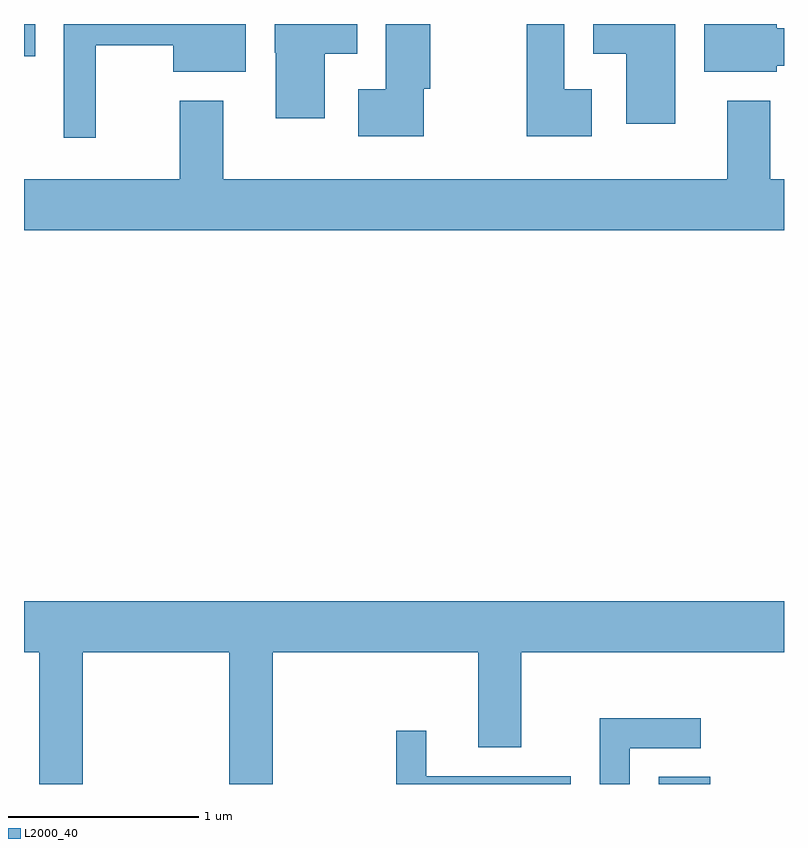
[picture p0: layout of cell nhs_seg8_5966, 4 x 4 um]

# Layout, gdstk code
import gdstk
lib = gdstk.Library(unit=1e-6, precision=1e-09)
def R(c, l, rs):  # rectangles x0, y0, x1, y1
    for r in rs: c.add(gdstk.rectangle(r[:2], r[2:], *l))
def P(c, l, *ps):  # polygons
    for p in ps: c.add(gdstk.Polygon(p, *l))
L2000_40 = (2000, 40)

nhs_seg8_5966 = lib.new_cell('nhs_seg8_5966')
R(nhs_seg8_5966, L2000_40, [(366.951,1882.342,367.224,1882.379), (363.611,1886.171,363.669,1886.342)])
P(nhs_seg8_5966, L2000_40, [(365.194,1886.186),(365.364,1886.186),(365.364,1886.342),(364.931,1886.342),(364.931,1886.19),(364.936,1886.19),(364.936,1885.846),(365.194,1885.846)],
  [(367.574,1886.121),(367.611,1886.121),(367.611,1886.319),(367.574,1886.319),(367.574,1886.342),(367.191,1886.342),(367.191,1886.091),(367.574,1886.091)],
  [(366.599,1885.999),(366.454,1885.999),(366.454,1886.342),(366.256,1886.342),(366.256,1885.751),(366.599,1885.751)],
  [(365.714,1886.001),(365.749,1886.001),(365.749,1886.342),(365.516,1886.342),(365.516,1885.999),(365.371,1885.999),(365.371,1885.751),(365.714,1885.751)],
  [(367.039,1886.342),(366.606,1886.342),(366.606,1886.186),(366.781,1886.186),(366.781,1885.816),(367.039,1885.816)],
  [(363.989,1886.231),(364.396,1886.231),(364.396,1886.091),(364.779,1886.091),(364.779,1886.342),(363.821,1886.342),(363.821,1885.743),(363.989,1885.743)],
  [(367.611,1885.524),(367.539,1885.524),(367.539,1885.939),(367.311,1885.939),(367.311,1885.524),(364.659,1885.524),(364.659,1885.939),(364.431,1885.939),(364.431,1885.524),(363.611,1885.524),(363.611,1885.256),(367.611,1885.256)],
  [(363.919,1883.036),(364.691,1883.036),(364.691,1882.342),(364.919,1882.342),(364.919,1883.036),(366.001,1883.036),(366.001,1882.536),(366.229,1882.536),(366.229,1883.036),(367.611,1883.036),(367.611,1883.304),(363.611,1883.304),(363.611,1883.036),(363.691,1883.036),(363.691,1882.342),(363.919,1882.342)],
  [(366.799,1882.531),(367.173,1882.531),(367.173,1882.689),(366.641,1882.689),(366.641,1882.342),(366.799,1882.342)],
  [(366.489,1882.384),(365.729,1882.384),(365.729,1882.623),(365.571,1882.623),(365.571,1882.342),(366.489,1882.342)])

lib.write_gds('nhs_seg8_5966.gds')
